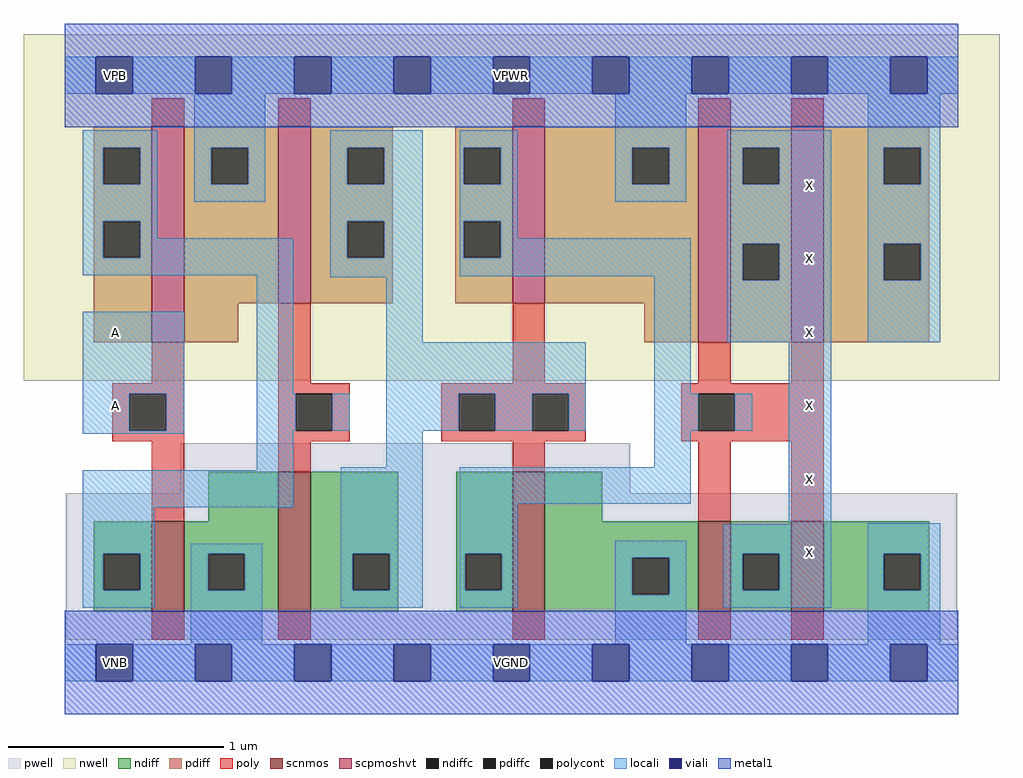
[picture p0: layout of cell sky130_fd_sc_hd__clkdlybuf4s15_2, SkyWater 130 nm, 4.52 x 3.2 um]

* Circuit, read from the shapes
.subckt sky130_fd_sc_hd__clkdlybuf4s15_2 A VGND VNB VPB VPWR X
XM1 VGND A n1 VNB sky130_fd_pr__nfet_01v8 w=0.42 l=0.15
XM2 n2 n1 VGND VNB sky130_fd_pr__nfet_01v8 w=0.65 l=0.15
XM3 VGND n2 n3 VNB sky130_fd_pr__nfet_01v8 w=0.65 l=0.15
XM4 X n3 VGND VNB sky130_fd_pr__nfet_01v8 w=0.42 l=0.15 m=2
XM5 VPWR A n1 VPB sky130_fd_pr__pfet_01v8_hvt w=1 l=0.15
XM6 n2 n1 VPWR VPB sky130_fd_pr__pfet_01v8_hvt w=0.82 l=0.15
XM7 VPWR n2 n3 VPB sky130_fd_pr__pfet_01v8_hvt w=0.82 l=0.15
XM8 X n3 VPWR VPB sky130_fd_pr__pfet_01v8_hvt w=1 l=0.15 m=2
.ends

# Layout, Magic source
magic
tech sky130B
magscale 1 2
<< nwell >>
rect -38 261 866 582
<< pwell >>
rect 107 157 524 203
rect 1 21 827 157
rect 30 -17 64 21
<< scnmos >>
rect 81 47 111 131
rect 198 47 228 177
rect 415 47 445 177
rect 587 47 617 131
rect 673 47 703 131
<< scpmoshvt >>
rect 81 297 111 497
rect 198 333 228 497
rect 415 333 445 497
rect 587 297 617 497
rect 673 297 703 497
<< ndiff >>
rect 133 131 198 177
rect 27 101 81 131
rect 27 67 36 101
rect 70 67 81 101
rect 27 47 81 67
rect 111 101 198 131
rect 111 67 133 101
rect 167 67 198 101
rect 111 47 198 67
rect 228 101 309 177
rect 228 67 267 101
rect 301 67 309 101
rect 228 47 309 67
rect 363 101 415 177
rect 363 67 371 101
rect 405 67 415 101
rect 363 47 415 67
rect 445 131 498 177
rect 445 97 587 131
rect 445 63 526 97
rect 560 63 587 97
rect 445 47 587 63
rect 617 101 673 131
rect 617 67 628 101
rect 662 67 673 101
rect 617 47 673 67
rect 703 101 801 131
rect 703 67 759 101
rect 793 67 801 101
rect 703 47 801 67
<< pdiff >>
rect 27 477 81 497
rect 27 443 36 477
rect 70 443 81 477
rect 27 409 81 443
rect 27 375 36 409
rect 70 375 81 409
rect 27 297 81 375
rect 111 477 198 497
rect 111 443 136 477
rect 170 443 198 477
rect 111 333 198 443
rect 228 477 304 497
rect 228 443 262 477
rect 296 443 304 477
rect 228 409 304 443
rect 228 375 262 409
rect 296 375 304 409
rect 228 333 304 375
rect 362 477 415 497
rect 362 443 370 477
rect 404 443 415 477
rect 362 409 415 443
rect 362 375 370 409
rect 404 375 415 409
rect 362 333 415 375
rect 445 477 587 497
rect 445 443 526 477
rect 560 443 587 477
rect 445 333 587 443
rect 111 297 161 333
rect 537 297 587 333
rect 617 477 673 497
rect 617 443 628 477
rect 662 443 673 477
rect 617 388 673 443
rect 617 354 628 388
rect 662 354 673 388
rect 617 297 673 354
rect 703 477 801 497
rect 703 443 759 477
rect 793 443 801 477
rect 703 388 801 443
rect 703 354 759 388
rect 793 354 801 388
rect 703 297 801 354
<< ndiffc >>
rect 36 67 70 101
rect 133 67 167 101
rect 267 67 301 101
rect 371 67 405 101
rect 526 63 560 97
rect 628 67 662 101
rect 759 67 793 101
<< pdiffc >>
rect 36 443 70 477
rect 36 375 70 409
rect 136 443 170 477
rect 262 443 296 477
rect 262 375 296 409
rect 370 443 404 477
rect 370 375 404 409
rect 526 443 560 477
rect 628 443 662 477
rect 628 354 662 388
rect 759 443 793 477
rect 759 354 793 388
<< poly >>
rect 81 497 111 523
rect 198 497 228 523
rect 415 497 445 523
rect 587 497 617 523
rect 673 497 703 523
rect 81 259 111 297
rect 44 249 111 259
rect 44 215 60 249
rect 94 215 111 249
rect 44 205 111 215
rect 81 131 111 205
rect 198 259 228 333
rect 415 259 445 333
rect 587 259 617 297
rect 673 259 703 297
rect 198 249 264 259
rect 198 215 214 249
rect 248 215 264 249
rect 198 205 264 215
rect 349 249 483 259
rect 349 215 365 249
rect 399 215 433 249
rect 467 215 483 249
rect 349 205 483 215
rect 571 249 703 259
rect 571 215 587 249
rect 621 215 703 249
rect 571 205 703 215
rect 198 177 228 205
rect 415 177 445 205
rect 587 131 617 205
rect 673 131 703 205
rect 81 21 111 47
rect 198 21 228 47
rect 415 21 445 47
rect 587 21 617 47
rect 673 21 703 47
<< polycont >>
rect 60 215 94 249
rect 214 215 248 249
rect 365 215 399 249
rect 433 215 467 249
rect 587 215 621 249
<< locali >>
rect 0 527 29 561
rect 63 527 121 561
rect 155 527 213 561
rect 247 527 305 561
rect 339 527 397 561
rect 431 527 489 561
rect 523 527 581 561
rect 615 527 673 561
rect 707 527 765 561
rect 799 527 828 561
rect 17 477 86 493
rect 17 443 36 477
rect 70 443 86 477
rect 17 409 86 443
rect 120 477 186 527
rect 120 443 136 477
rect 170 443 186 477
rect 120 427 186 443
rect 246 477 332 493
rect 246 443 262 477
rect 296 443 332 477
rect 17 375 36 409
rect 70 393 86 409
rect 246 409 332 443
rect 70 375 212 393
rect 17 359 212 375
rect 17 249 111 325
rect 17 215 60 249
rect 94 215 111 249
rect 17 212 111 215
rect 178 249 212 359
rect 246 375 262 409
rect 296 375 332 409
rect 246 357 332 375
rect 366 477 420 493
rect 366 443 370 477
rect 404 443 420 477
rect 366 409 420 443
rect 510 477 576 527
rect 510 443 526 477
rect 560 443 576 477
rect 510 427 576 443
rect 614 477 710 493
rect 614 443 628 477
rect 662 443 710 477
rect 366 375 370 409
rect 404 393 420 409
rect 404 375 580 393
rect 366 358 580 375
rect 298 297 332 357
rect 298 249 483 297
rect 178 215 214 249
rect 248 215 264 249
rect 298 215 365 249
rect 399 215 433 249
rect 467 215 483 249
rect 546 249 580 358
rect 614 388 710 443
rect 614 354 628 388
rect 662 354 710 388
rect 614 297 710 354
rect 744 477 811 527
rect 744 443 759 477
rect 793 443 811 477
rect 744 388 811 443
rect 744 354 759 388
rect 793 354 811 388
rect 744 297 811 354
rect 546 215 587 249
rect 621 215 637 249
rect 178 178 212 215
rect 298 181 332 215
rect 546 181 580 215
rect 17 144 212 178
rect 17 101 83 144
rect 17 67 36 101
rect 70 67 83 101
rect 17 51 83 67
rect 117 101 183 110
rect 117 67 133 101
rect 167 67 183 101
rect 117 17 183 67
rect 256 101 332 181
rect 256 67 267 101
rect 301 67 332 101
rect 256 51 332 67
rect 366 147 580 181
rect 366 101 420 147
rect 671 128 710 297
rect 366 67 371 101
rect 405 67 420 101
rect 366 51 420 67
rect 510 97 576 113
rect 510 63 526 97
rect 560 63 576 97
rect 510 17 576 63
rect 610 101 710 128
rect 610 67 628 101
rect 662 67 710 101
rect 610 51 710 67
rect 744 101 811 129
rect 744 67 759 101
rect 793 67 811 101
rect 744 17 811 67
rect 0 -17 29 17
rect 63 -17 121 17
rect 155 -17 213 17
rect 247 -17 305 17
rect 339 -17 397 17
rect 431 -17 489 17
rect 523 -17 581 17
rect 615 -17 673 17
rect 707 -17 765 17
rect 799 -17 828 17
<< viali >>
rect 29 527 63 561
rect 121 527 155 561
rect 213 527 247 561
rect 305 527 339 561
rect 397 527 431 561
rect 489 527 523 561
rect 581 527 615 561
rect 673 527 707 561
rect 765 527 799 561
rect 29 -17 63 17
rect 121 -17 155 17
rect 213 -17 247 17
rect 305 -17 339 17
rect 397 -17 431 17
rect 489 -17 523 17
rect 581 -17 615 17
rect 673 -17 707 17
rect 765 -17 799 17
<< metal1 >>
rect 0 561 828 592
rect 0 527 29 561
rect 63 527 121 561
rect 155 527 213 561
rect 247 527 305 561
rect 339 527 397 561
rect 431 527 489 561
rect 523 527 581 561
rect 615 527 673 561
rect 707 527 765 561
rect 799 527 828 561
rect 0 496 828 527
rect 0 17 828 48
rect 0 -17 29 17
rect 63 -17 121 17
rect 155 -17 213 17
rect 247 -17 305 17
rect 339 -17 397 17
rect 431 -17 489 17
rect 523 -17 581 17
rect 615 -17 673 17
rect 707 -17 765 17
rect 799 -17 828 17
rect 0 -48 828 -17
<< labels >>
flabel locali s 30 289 64 323 0 FreeSans 400 0 0 0 A
port 1 nsew signal input
flabel locali s 30 221 64 255 0 FreeSans 400 0 0 0 A
port 1 nsew signal input
flabel locali s 673 425 707 459 0 FreeSans 400 0 0 0 X
port 6 nsew signal output
flabel locali s 673 357 707 391 0 FreeSans 400 0 0 0 X
port 6 nsew signal output
flabel locali s 673 289 707 323 0 FreeSans 400 0 0 0 X
port 6 nsew signal output
flabel locali s 673 221 707 255 0 FreeSans 400 0 0 0 X
port 6 nsew signal output
flabel locali s 673 153 707 187 0 FreeSans 400 0 0 0 X
port 6 nsew signal output
flabel locali s 673 85 707 119 0 FreeSans 400 0 0 0 X
port 6 nsew signal output
flabel pwell s 30 -17 64 17 0 FreeSans 200 0 0 0 VNB
port 3 nsew ground bidirectional
flabel nwell s 30 527 64 561 0 FreeSans 200 0 0 0 VPB
port 4 nsew power bidirectional
flabel metal1 s 30 527 64 561 0 FreeSans 200 0 0 0 VPWR
port 5 nsew power bidirectional abutment
flabel metal1 s 30 -17 64 17 0 FreeSans 200 0 0 0 VGND
port 2 nsew ground bidirectional abutment
rlabel comment s 0 0 0 0 4 clkdlybuf4s15_2
rlabel metal1 s 0 -48 828 48 1 VGND
port 2 nsew ground bidirectional abutment
rlabel metal1 s 0 496 828 592 1 VPWR
port 5 nsew power bidirectional abutment
<< properties >>
string FIXED_BBOX 0 0 828 544
string GDS_END 3157296
string GDS_FILE $PDKPATH/libs.ref/sky130_fd_sc_hd/gds/sky130_fd_sc_hd.gds
string GDS_START 3150730
string LEFclass CORE
string LEFsite unithd
string LEFsymmetry X Y R90
string path 0.000 0.000 20.700 0.000 
<< end >>
